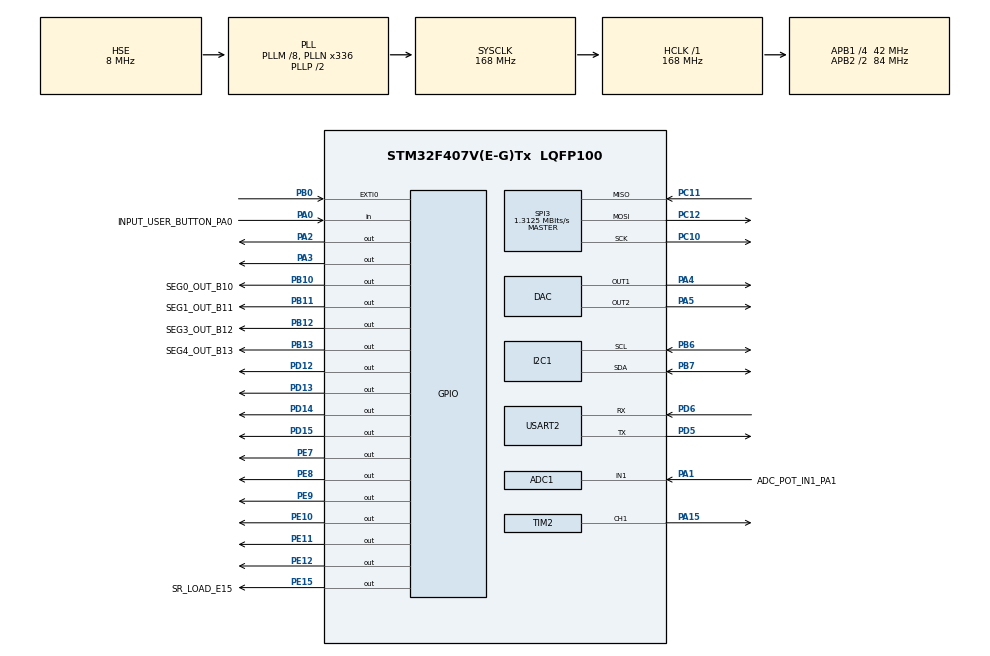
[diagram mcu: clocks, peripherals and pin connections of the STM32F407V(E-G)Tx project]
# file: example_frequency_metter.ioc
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ADC1.Channel-1\#ChannelRegularConversion=ADC_CHANNEL_1
ADC1.ContinuousConvMode=ENABLE
ADC1.EOCSelection=ADC_EOC_SEQ_CONV
ADC1.NbrOfConversionFlag=1
ADC1.Rank-1\#ChannelRegularConversion=1
ADC1.SamplingTime-1\#ChannelRegularConversion=ADC_SAMPLETIME_3CYCLES
ADC1.master=1
Mcu.Family=STM32F4
Mcu.Name=STM32F407V(E-G)Tx
Mcu.Package=LQFP100
NVIC.EXTI0_IRQn=true\:1\:0\:true\:false\:true\:true\:true
NVIC.PriorityGroup=NVIC_PRIORITYGROUP_4
NVIC.TIM1_UP_TIM10_IRQn=true\:0\:0\:false\:false\:true\:true\:true
NVIC.TIM3_IRQn=true\:0\:0\:false\:false\:true\:true\:true
NVIC.USART2_IRQn=true\:0\:0\:false\:false\:true\:true\:true
PA0-WKUP.GPIO_Label=INPUT_USER_BUTTON_PA0
PA0-WKUP.Signal=GPIO_Input
PA1.GPIO_Label=ADC_POT_IN1_PA1
PA1.Signal=ADCx_IN1
PA15.Signal=S_TIM2_CH1_ETR
PA2.GPIO_ModeDefaultOutputPP=GPIO_MODE_OUTPUT_PP
PA2.GPIO_PuPd=GPIO_PULLUP
PA2.GPIO_Speed=GPIO_SPEED_FREQ_HIGH
PA2.PinState=GPIO_PIN_RESET
PA2.Signal=GPIO_Output
PA3.GPIO_ModeDefaultOutputPP=GPIO_MODE_OUTPUT_PP
PA3.GPIO_PuPd=GPIO_PULLUP
PA3.GPIO_Speed=GPIO_SPEED_FREQ_HIGH
PA3.PinState=GPIO_PIN_RESET
PA3.Signal=GPIO_Output
PA4.Signal=COMP_DAC1_group
PA5.Signal=COMP_DAC2_group
PB0.GPIO_ModeDefaultEXTI=GPIO_MODE_IT_RISING
PB0.GPIO_PuPd=GPIO_PULLDOWN
PB0.Signal=GPXTI0
PB10.GPIO_Label=SEG0_OUT_B10
PB10.Signal=GPIO_Output
PB11.GPIO_Label=SEG1_OUT_B11
PB11.Signal=GPIO_Output
PB12.GPIO_Label=SEG3_OUT_B12
PB12.Signal=GPIO_Output
PB13.GPIO_Label=SEG4_OUT_B13
PB13.Signal=GPIO_Output
PB6.Mode=I2C
PB6.Signal=I2C1_SCL
PB7.Mode=I2C
PB7.Signal=I2C1_SDA
PC10.Mode=Full_Duplex_Master
PC10.Signal=SPI3_SCK
PC11.Mode=Full_Duplex_Master
PC11.Signal=SPI3_MISO
PC12.Mode=Full_Duplex_Master
PC12.Signal=SPI3_MOSI
PD12.GPIO_ModeDefaultOutputPP=GPIO_MODE_OUTPUT_PP
PD12.GPIO_PuPd=GPIO_PULLUP
PD12.GPIO_Speed=GPIO_SPEED_FREQ_VERY_HIGH
PD12.PinState=GPIO_PIN_RESET
PD12.Signal=GPIO_Output
PD13.GPIO_ModeDefaultOutputPP=GPIO_MODE_OUTPUT_PP
PD13.GPIO_PuPd=GPIO_PULLUP
PD13.GPIO_Speed=GPIO_SPEED_FREQ_VERY_HIGH
PD13.PinState=GPIO_PIN_RESET
PD13.Signal=GPIO_Output
PD14.GPIO_ModeDefaultOutputPP=GPIO_MODE_OUTPUT_PP
PD14.GPIO_PuPd=GPIO_PULLUP
PD14.GPIO_Speed=GPIO_SPEED_FREQ_VERY_HIGH
PD14.PinState=GPIO_PIN_RESET
PD14.Signal=GPIO_Output
PD15.GPIO_ModeDefaultOutputPP=GPIO_MODE_OUTPUT_PP
PD15.GPIO_PuPd=GPIO_PULLUP
PD15.GPIO_Speed=GPIO_SPEED_FREQ_VERY_HIGH
PD15.PinState=GPIO_PIN_RESET
PD15.Signal=GPIO_Output
PD5.Mode=Asynchronous
PD5.Signal=USART2_TX
PD6.Mode=Asynchronous
PD6.Signal=USART2_RX
PE10.Signal=GPIO_Output
PE11.Signal=GPIO_Output
PE12.Signal=GPIO_Output
PE15.GPIO_Label=SR_LOAD_E15
PE15.Signal=GPIO_Output
PE7.Signal=GPIO_Output
PE8.Signal=GPIO_Output
PE9.Signal=GPIO_Output
PH0-OSC_IN.Mode=HSE-External-Oscillator
PH0-OSC_IN.Signal=RCC_OSC_IN
PH1-OSC_OUT.Mode=HSE-External-Oscillator
PH1-OSC_OUT.Signal=RCC_OSC_OUT
ProjectManager.HeapSize=0x200
ProjectManager.StackSize=0x400
ProjectManager.TargetToolchain=MDK-ARM V5
RCC.48MHZClocksFreq_Value=84000000
RCC.AHBFreq_Value=168000000
RCC.APB1CLKDivider=RCC_HCLK_DIV4
RCC.APB1Freq_Value=42000000
RCC.APB1TimFreq_Value=84000000
RCC.APB2CLKDivider=RCC_HCLK_DIV2
RCC.APB2Freq_Value=84000000
RCC.APB2TimFreq_Value=168000000
RCC.CortexFreq_Value=168000000
RCC.HCLKFreq_Value=168000000
RCC.HSE_VALUE=8000000
RCC.HSI_VALUE=16000000
RCC.LSE_VALUE=32768
RCC.PLLM=8
RCC.PLLN=336
RCC.PLLSourceVirtual=RCC_PLLSOURCE_HSE
RCC.SYSCLKFreq_VALUE=168000000
RCC.SYSCLKSource=RCC_SYSCLKSOURCE_PLLCLK
RCC.VCOOutputFreq_Value=336000000
SH.ADCx_IN1.0=ADC1_IN1,IN1
SH.COMP_DAC1_group.0=DAC_OUT1,DAC_OUT1
SH.COMP_DAC2_group.0=DAC_OUT2,DAC_OUT2
SH.S_TIM2_CH1_ETR.0=TIM2_CH1,PWM Generation1 CH1
SPI3.BaudRatePrescaler=SPI_BAUDRATEPRESCALER_32
SPI3.CalculateBaudRate=1.3125 MBits/s
SPI3.Direction=SPI_DIRECTION_2LINES
SPI3.Mode=SPI_MODE_MASTER
SPI3.VirtualType=VM_MASTER
TIM1.Period=9999
TIM1.Prescaler=8399
TIM2.Channel-PWM\ Generation1\ CH1=TIM_CHANNEL_1
TIM2.Period=100
TIM2.Prescaler=84
TIM2.Pulse-PWM\ Generation1\ CH1=0
TIM2.TIM_MasterOutputTrigger=TIM_TRGO_OC4REF
TIM3.Period=9999
TIM3.Prescaler=168
USART2.VirtualMode=VM_ASYNC
VP_TIM1_VS_ClockSourceINT.Mode=Internal
VP_TIM2_VS_ClockSourceINT.Mode=Internal
VP_TIM3_VS_ClockSourceINT.Mode=Internal
board=example_frequency_metter

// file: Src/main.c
/**
  ******************************************************************************
  * @file           : main.c
  * @brief          : Main program body
  ******************************************************************************
  ** This notice applies to any and all portions of this file
  * that are not between comment pairs USER CODE BEGIN and
  * USER CODE END. Other portions of this file, whether
  * inserted by the user or by software development tools
  * are owned by their respective copyright owners.
  *
  * COPYRIGHT(c) 2019 STMicroelectronics
  *
  * Redistribution and use in source and binary forms, with or without modification,
  * are permitted provided that the following conditions are met:
  *   1. Redistributions of source code must retain the above copyright notice,
  *      this list of conditions and the following disclaimer.
  *   2. Redistributions in binary form must reproduce the above copyright notice,
  *      this list of conditions and the following disclaimer in the documentation
  *      and/or other materials provided with the distribution.
  *   3. Neither the name of STMicroelectronics nor the names of its contributors
  *      may be used to endorse or promote products derived from this software
  *      without specific prior written permission.
  *
  * THIS SOFTWARE IS PROVIDED BY THE COPYRIGHT HOLDERS AND CONTRIBUTORS "AS IS"
  * AND ANY EXPRESS OR IMPLIED WARRANTIES, INCLUDING, BUT NOT LIMITED TO, THE
  * IMPLIED WARRANTIES OF MERCHANTABILITY AND FITNESS FOR A PARTICULAR PURPOSE ARE
  * DISCLAIMED. IN NO EVENT SHALL THE COPYRIGHT HOLDER OR CONTRIBUTORS BE LIABLE
  * FOR ANY DIRECT, INDIRECT, INCIDENTAL, SPECIAL, EXEMPLARY, OR CONSEQUENTIAL
  * DAMAGES (INCLUDING, BUT NOT LIMITED TO, PROCUREMENT OF SUBSTITUTE GOODS OR
  * SERVICES; LOSS OF USE, DATA, OR PROFITS; OR BUSINESS INTERRUPTION) HOWEVER
  * CAUSED AND ON ANY THEORY OF LIABILITY, WHETHER IN CONTRACT, STRICT LIABILITY,
  * OR TORT (INCLUDING NEGLIGENCE OR OTHERWISE) ARISING IN ANY WAY OUT OF THE USE
  * OF THIS SOFTWARE, EVEN IF ADVISED OF THE POSSIBILITY OF SUCH DAMAGE.
  *
  ******************************************************************************
  */
#include "main.h"
#include "stm32f4xx_hal.h"
#include <string.h>

/* USER CODE BEGIN Includes */

#include "lcd_txt.h"

/* USER CODE END Includes */

ADC_HandleTypeDef hadc1;
DAC_HandleTypeDef hdac;
I2C_HandleTypeDef hi2c1;
SPI_HandleTypeDef hspi3;
TIM_HandleTypeDef htim1;
TIM_HandleTypeDef htim2;
TIM_HandleTypeDef htim3;
UART_HandleTypeDef huart2;

/* USER CODE BEGIN PV */

#define SLAVE_ADDRESS_PCF8574T 0x4E // change this according to ur setup
#define PACKET_SIZE_OF_I2C 1
#define DP 0x01

/* Private variables ---------------------------------------------------------*/
uint32_t frequency,dem=0;
int timer_counter = 0;
int ADCvalue;
int volt = 0;
int dutyCycle;
int num = 0;
int DAC_ValSignal;
short a;
uint8_t SPI_TxBuffer[10] = {0};
uint8_t i;
uint16_t value;

const uint8_t digit[10]={0xEE,0x82,0xDC,0xD6,0xB2,0x76,0x7E,0xC2,0xFE,0xF6};

uint16_t SPWM[64] = {
200, 221, 241, 260, 277, 292, 304, 313, 319, 323, 325, 325, 325, 324, 322, 321,
321, 321, 322, 324, 325, 325, 325, 323, 319, 313, 304, 292, 277, 260, 241, 221,
200, 179, 159, 140, 123, 108, 96, 87, 81, 77, 75, 75, 75, 76, 78, 79, 79, 79, 78,
76, 75, 75, 75, 77, 81, 87, 96, 108, 123, 140, 159, 179
};

GPIO_PinState myPushButton;

char txData[40] = "Hello from STM32F4 Discovery\r\n";
char rxData[40];

struct panel_timer
{
	float timer_counter;
	int ext_irq;
}T0;

/* USER CODE END PV */

void SystemClock_Config(void);
static void MX_GPIO_Init(void);
static void MX_TIM1_Init(void);
static void MX_ADC1_Init(void);
static void MX_I2C1_Init(void);
static void MX_USART2_UART_Init(void);
static void MX_TIM2_Init(void);
static void MX_DAC_Init(void);
static void MX_SPI3_Init(void);
static void MX_TIM3_Init(void);

void HAL_TIM_MspPostInit(TIM_HandleTypeDef *htim);

/* USER CODE BEGIN PFP */
/* Private function prototypes -----------------------------------------------*/
void PCF_send_data (char data);
void SEG7_DISPLAY_SCAN(int Seg7_value);

/* USER CODE END PFP */

int main(void)
{
	char str[30];
	char name[20];
//	struct panel_timer T0;// = {0,};

  /* MCU Configuration----------------------------------------------------------*/

  /* Reset of all peripherals, Initializes the Flash interface and the Systick. */
  HAL_Init();

  /* Configure the system clock */
  SystemClock_Config();

  /* Initialize all configured peripherals */
  MX_GPIO_Init();
  MX_TIM1_Init();
  MX_ADC1_Init();
  MX_I2C1_Init();
  MX_USART2_UART_Init();
  MX_TIM2_Init();
	MX_TIM3_Init();
  MX_DAC_Init();
  MX_SPI3_Init();

	lcd_init();

	HAL_TIM_Base_Start_IT(&htim1);
	HAL_TIM_Base_Start_IT(&htim3);
	HAL_ADC_Start(&hadc1);
	HAL_TIM_PWM_Start(&htim2, TIM_CHANNEL_1);
	HAL_DAC_Start(&hdac, DAC_CHANNEL_1);
	HAL_DAC_Start(&hdac, DAC_CHANNEL_2);

  /* USER CODE BEGIN 2 */
  lcd_puts(0,0, (int8_t*) "--Taner SADIKOGLU--");
	HAL_Delay(1000);

	lcd_clear();
  /* USER CODE END 2 */
  /* Infinite loop */
  while (1)
  {

  /* USER CODE BEGIN 3 */

	if(HAL_ADC_PollForConversion(&hadc1,100) == HAL_OK)
{
		ADCvalue = HAL_ADC_GetValue(&hadc1);
}

	PCF_send_data(255-(ADCvalue/16));

//	HAL_UART_Transmit(&huart2, (uint8_t *)&txData[0], 1, 10);
//	txData[0]++;
//	if(txData[0] > '9') txData[0] = '0';

// Update Channel 1 PWM Register
//	dutyCycle = ADCvalue * (100.0/4095.0);
		dutyCycle =  (SPWM[a] * 12)* (100.0/3900.0);;

	//dutyCycle = 35;
	htim2.Instance->CCR1 = dutyCycle;

	HAL_UART_Transmit(&huart2, (uint8_t *)txData, strlen(txData), 1000);

	//DAC_ValSignal = (0.2 * 4095) / 3.0;

	a++;
	if(a>=64) a=0;

	DAC_ValSignal = DAC_ValSignal + 100;
	HAL_DAC_SetValue(&hdac, DAC1_CHANNEL_1,DAC_ALIGN_12B_R, (SPWM[a] * 12));

//	struct bits {
//    unsigned int BIT0:1;
//    unsigned int BIT1:1;
//    unsigned int BIT2:1;
//		unsigned int BIT3:1;
//		unsigned int BIT4:1;
//		unsigned int BIT5:1;
//		unsigned int BIT6:1;
//		unsigned int BIT7:1;
//		unsigned int BIT8:1;
//};

//	struct bits mybits;

//	mybits.BIT0 = 1;
//	mybits.BIT1 = 0;
//	mybits.BIT2 = 0;
//	mybits.BIT7 = 1;

//  sprintf(str,"mybits:%d",mybits);
//  lcd_puts(0,0,(int8_t*) str);

//	Set bit: num = num | (1 << i);
//	Clear bit : num = num & ~(1 << i);
//	Toggle bit: num = num ^ (1 << i);
//	Get bit: num = (num >> i) & 1;

	myPushButton = HAL_GPIO_ReadPin(GPIOA, INPUT_USER_BUTTON_PA0_Pin); //GPIO_PIN_0

	if(myPushButton)
	{
		num = num | (1 << 7);			// 7. BIT SET ET
		value++;
	}
	else
	{
		num = num & ~(1 << 7);		// 7. CLEAR SET ET
	}

		sprintf(str,"Button:%0.3d",num);
		lcd_puts(0,0,(int8_t*) str);
//
//	sprintf(str,"Freq = %u Hz",frequency); //frequency
//	lcd_puts(0,0,(int8_t*) str);

		sprintf(str,"Volt: = %.3f ",ADCvalue * (255.0/4095.0));
		lcd_puts(1,0,(int8_t*) str);
//
//	sprintf(str,"T0: = %0.2f ",T0.timer_counter);
//	lcd_puts(2,0,(int8_t*) str);
//
		sprintf(name,"Taner SADIKOGLU");
		lcd_puts(3,0, (int8_t*) name);
//

//	SEG7_DISPLAY_SCAN(ADCvalue * (255.0/4095.0));

	//HAL_UART_Transmit(&huart2, (uint8_t *)txData, strlen(txData), 1000);

  }
  /* USER CODE END 3 */

}

void SEG7_DISPLAY_SCAN(int Seg7_value)
{
static uint8_t count = 1;
			HAL_GPIO_WritePin(GPIOB, GPIO_PIN_10 | GPIO_PIN_11 | GPIO_PIN_12 | GPIO_PIN_13 , GPIO_PIN_RESET);					// Disable all segments
	switch(count)
	{
		case 1: // Show Segment1
		{
			SPI_TxBuffer[0] = digit[Seg7_value%10];
			HAL_SPI_Transmit (&hspi3, (uint8_t *)SPI_TxBuffer, 1, 100);
			HAL_GPIO_WritePin(GPIOB, GPIO_PIN_10, GPIO_PIN_SET);
			break;
		}
		case 2: // Show Segment2
		{
			SPI_TxBuffer[0] = digit[(Seg7_value/10)%10];
			HAL_SPI_Transmit (&hspi3, (uint8_t *)SPI_TxBuffer, 1, 100);
			HAL_GPIO_WritePin(GPIOB, GPIO_PIN_11, GPIO_PIN_SET);
			break;
		}
		case 3: // Show Segment3
		{
			SPI_TxBuffer[0] = digit[(Seg7_value/100)%10];
			HAL_SPI_Transmit (&hspi3, (uint8_t *)SPI_TxBuffer, 1, 100);
			HAL_GPIO_WritePin(GPIOB, GPIO_PIN_12, GPIO_PIN_SET);
			break;
		}
		case 4: // Show Segment4
		{
			SPI_TxBuffer[0] = digit[(Seg7_value/1000)%10];// + DP;
			HAL_SPI_Transmit (&hspi3, (uint8_t *)SPI_TxBuffer, 1, 100);
			HAL_GPIO_WritePin(GPIOB, GPIO_PIN_13, GPIO_PIN_SET);
			break;
		}

	}
			HAL_GPIO_WritePin(GPIOE, GPIO_PIN_15, GPIO_PIN_SET);			// Strobe Shift Register
			HAL_GPIO_WritePin(GPIOE, GPIO_PIN_15, GPIO_PIN_RESET);

			count++; if(count>4) count=0;
}

void PCF_send_data (char data)
{
	uint8_t data_t[1];
	data_t[0] = data;

	HAL_I2C_Master_Transmit (&hi2c1, SLAVE_ADDRESS_PCF8574T,(uint8_t *) data_t, PACKET_SIZE_OF_I2C, 500);
}

// external int
void HAL_GPIO_EXTI_Callback(uint16_t GPIO_Pin)
	{
		if(GPIO_Pin==GPIO_PIN_0)
			{
				// to do
				dem++;

				HAL_GPIO_TogglePin(GPIOD, GPIO_PIN_14);
//				HAL_GPIO_TogglePin(GPIOD, GPIO_PIN_14|GPIO_PIN_15);
			}
	}

void HAL_TIM_PeriodElapsedCallback(TIM_HandleTypeDef *htim)
	{
		if(TIM1==htim->Instance)
			{
				// to do
				frequency=dem*2;
				dem=0;
				timer_counter = timer_counter + 1;
				T0.timer_counter = T0.timer_counter + 0.01;
				HAL_GPIO_TogglePin(GPIOD,GPIO_PIN_12);
			}

			if(TIM3==htim->Instance)
			{
				HAL_GPIO_TogglePin(GPIOD,GPIO_PIN_13);
				SEG7_DISPLAY_SCAN(ADCvalue * (255.0/4095.0));
			}
	}

/*---------------------------------------- CONFIGUARTION ---------------------------------------------*/
void SystemClock_Config(void)
{

  RCC_OscInitTypeDef RCC_OscInitStruct;
  RCC_ClkInitTypeDef RCC_ClkInitStruct;

    /**Configure the main internal regulator output voltage
    */
  __HAL_RCC_PWR_CLK_ENABLE();

  __HAL_PWR_VOLTAGESCALING_CONFIG(PWR_REGULATOR_VOLTAGE_SCALE1);

    /**Initializes the CPU, AHB and APB busses clocks
    */
  RCC_OscInitStruct.OscillatorType = RCC_OSCILLATORTYPE_HSE;
  RCC_OscInitStruct.HSEState = RCC_HSE_ON;
  RCC_OscInitStruct.PLL.PLLState = RCC_PLL_ON;
  RCC_OscInitStruct.PLL.PLLSource = RCC_PLLSOURCE_HSE;
  RCC_OscInitStruct.PLL.PLLM = 8;
  RCC_OscInitStruct.PLL.PLLN = 336;
  RCC_OscInitStruct.PLL.PLLP = RCC_PLLP_DIV2;
  RCC_OscInitStruct.PLL.PLLQ = 4;
  if (HAL_RCC_OscConfig(&RCC_OscInitStruct) != HAL_OK)
  {
    _Error_Handler(__FILE__, __LINE__);
  }

    /**Initializes the CPU, AHB and APB busses clocks
    */
  RCC_ClkInitStruct.ClockType = RCC_CLOCKTYPE_HCLK|RCC_CLOCKTYPE_SYSCLK
                              |RCC_CLOCKTYPE_PCLK1|RCC_CLOCKTYPE_PCLK2;
  RCC_ClkInitStruct.SYSCLKSource = RCC_SYSCLKSOURCE_PLLCLK;
  RCC_ClkInitStruct.AHBCLKDivider = RCC_SYSCLK_DIV1;
  RCC_ClkInitStruct.APB1CLKDivider = RCC_HCLK_DIV4;
  RCC_ClkInitStruct.APB2CLKDivider = RCC_HCLK_DIV2;

  if (HAL_RCC_ClockConfig(&RCC_ClkInitStruct, FLASH_LATENCY_5) != HAL_OK)
  {
    _Error_Handler(__FILE__, __LINE__);
  }

    /**Configure the Systick interrupt time
    */
  HAL_SYSTICK_Config(HAL_RCC_GetHCLKFreq()/1000);

    /**Configure the Systick
    */
  HAL_SYSTICK_CLKSourceConfig(SYSTICK_CLKSOURCE_HCLK);

  /* SysTick_IRQn interrupt configuration */
  HAL_NVIC_SetPriority(SysTick_IRQn, 0, 0);
}

/* ADC1 init function */
static void MX_ADC1_Init(void)
{

  ADC_ChannelConfTypeDef sConfig;

    /**Configure the global features of the ADC (Clock, Resolution, Data Alignment and number of conversion)
    */
  hadc1.Instance = ADC1;
  hadc1.Init.ClockPrescaler = ADC_CLOCK_SYNC_PCLK_DIV4;
  hadc1.Init.Resolution = ADC_RESOLUTION_12B;
  hadc1.Init.ScanConvMode = DISABLE;
  hadc1.Init.ContinuousConvMode = ENABLE;
  hadc1.Init.DiscontinuousConvMode = DISABLE;
  hadc1.Init.ExternalTrigConvEdge = ADC_EXTERNALTRIGCONVEDGE_NONE;
  hadc1.Init.ExternalTrigConv = ADC_SOFTWARE_START;
  hadc1.Init.DataAlign = ADC_DATAALIGN_RIGHT;
  hadc1.Init.NbrOfConversion = 1;
  hadc1.Init.DMAContinuousRequests = DISABLE;
  hadc1.Init.EOCSelection = ADC_EOC_SEQ_CONV;
  if (HAL_ADC_Init(&hadc1) != HAL_OK)
  {
    _Error_Handler(__FILE__, __LINE__);
  }

    /**Configure for the selected ADC regular channel its corresponding rank in the sequencer and its sample time.
    */
  sConfig.Channel = ADC_CHANNEL_1;
  sConfig.Rank = 1;
  sConfig.SamplingTime = ADC_SAMPLETIME_3CYCLES;
  if (HAL_ADC_ConfigChannel(&hadc1, &sConfig) != HAL_OK)
  {
    _Error_Handler(__FILE__, __LINE__);
  }

}

/* DAC init function */
static void MX_DAC_Init(void)
{

  DAC_ChannelConfTypeDef sConfig;

    /**DAC Initialization
    */
  hdac.Instance = DAC;
  if (HAL_DAC_Init(&hdac) != HAL_OK)
  {
    _Error_Handler(__FILE__, __LINE__);
  }

    /**DAC channel OUT1 config
    */
  sConfig.DAC_Trigger = DAC_TRIGGER_NONE;
  sConfig.DAC_OutputBuffer = DAC_OUTPUTBUFFER_ENABLE;
  if (HAL_DAC_ConfigChannel(&hdac, &sConfig, DAC_CHANNEL_1) != HAL_OK)
  {
    _Error_Handler(__FILE__, __LINE__);
  }

    /**DAC channel OUT2 config
    */
  if (HAL_DAC_ConfigChannel(&hdac, &sConfig, DAC_CHANNEL_2) != HAL_OK)
  {
    _Error_Handler(__FILE__, __LINE__);
  }

}

/* I2C1 init function */
static void MX_I2C1_Init(void)
{

  hi2c1.Instance = I2C1;
  hi2c1.Init.ClockSpeed = 100000;
  hi2c1.Init.DutyCycle = I2C_DUTYCYCLE_2;
  hi2c1.Init.OwnAddress1 = 0;
  hi2c1.Init.AddressingMode = I2C_ADDRESSINGMODE_7BIT;
  hi2c1.Init.DualAddressMode = I2C_DUALADDRESS_DISABLE;
  hi2c1.Init.OwnAddress2 = 0;
  hi2c1.Init.GeneralCallMode = I2C_GENERALCALL_DISABLE;
  hi2c1.Init.NoStretchMode = I2C_NOSTRETCH_DISABLE;
  if (HAL_I2C_Init(&hi2c1) != HAL_OK)
  {
    _Error_Handler(__FILE__, __LINE__);
  }

}

/* SPI3 init function */
static void MX_SPI3_Init(void)
{

  /* SPI3 parameter configuration*/
  hspi3.Instance = SPI3;
  hspi3.Init.Mode = SPI_MODE_MASTER;
  hspi3.Init.Direction = SPI_DIRECTION_2LINES;
  hspi3.Init.DataSize = SPI_DATASIZE_8BIT;
  hspi3.Init.CLKPolarity = SPI_POLARITY_LOW;
  hspi3.Init.CLKPhase = SPI_PHASE_1EDGE;
  hspi3.Init.NSS = SPI_NSS_SOFT;
  hspi3.Init.BaudRatePrescaler = SPI_BAUDRATEPRESCALER_32;
  hspi3.Init.FirstBit = SPI_FIRSTBIT_MSB;
  hspi3.Init.TIMode = SPI_TIMODE_DISABLE;
  hspi3.Init.CRCCalculation = SPI_CRCCALCULATION_DISABLE;
  hspi3.Init.CRCPolynomial = 10;
  if (HAL_SPI_Init(&hspi3) != HAL_OK)
  {
    _Error_Handler(__FILE__, __LINE__);
  }

}

/* TIM1 init function */
static void MX_TIM1_Init(void)
{

  TIM_ClockConfigTypeDef sClockSourceConfig;
  TIM_MasterConfigTypeDef sMasterConfig;

  htim1.Instance = TIM1;
  htim1.Init.Prescaler = 8399;
  htim1.Init.CounterMode = TIM_COUNTERMODE_UP;
  htim1.Init.Period = 9999;
  htim1.Init.ClockDivision = TIM_CLOCKDIVISION_DIV1;
  htim1.Init.RepetitionCounter = 0;
  if (HAL_TIM_Base_Init(&htim1) != HAL_OK)
  {
    _Error_Handler(__FILE__, __LINE__);
  }

  sClockSourceConfig.ClockSource = TIM_CLOCKSOURCE_INTERNAL;
  if (HAL_TIM_ConfigClockSource(&htim1, &sClockSourceConfig) != HAL_OK)
  {
    _Error_Handler(__FILE__, __LINE__);
  }

  sMasterConfig.MasterOutputTrigger = TIM_TRGO_RESET;
  sMasterConfig.MasterSlaveMode = TIM_MASTERSLAVEMODE_DISABLE;
  if (HAL_TIMEx_MasterConfigSynchronization(&htim1, &sMasterConfig) != HAL_OK)
  {
    _Error_Handler(__FILE__, __LINE__);
  }

}

/* TIM2 init function */
static void MX_TIM2_Init(void)
{

  TIM_ClockConfigTypeDef sClockSourceConfig;
  TIM_MasterConfigTypeDef sMasterConfig;
  TIM_OC_InitTypeDef sConfigOC;

  htim2.Instance = TIM2;
  htim2.Init.Prescaler = 84;
  htim2.Init.CounterMode = TIM_COUNTERMODE_UP;
  htim2.Init.Period = 100;
  htim2.Init.ClockDivision = TIM_CLOCKDIVISION_DIV1;
  if (HAL_TIM_Base_Init(&htim2) != HAL_OK)
  {
    _Error_Handler(__FILE__, __LINE__);
  }

  sClockSourceConfig.ClockSource = TIM_CLOCKSOURCE_INTERNAL;
  if (HAL_TIM_ConfigClockSource(&htim2, &sClockSourceConfig) != HAL_OK)
  {
    _Error_Handler(__FILE__, __LINE__);
  }

  if (HAL_TIM_PWM_Init(&htim2) != HAL_OK)
  {
    _Error_Handler(__FILE__, __LINE__);
  }

  sMasterConfig.MasterOutputTrigger = TIM_TRGO_OC4REF;
  sMasterConfig.MasterSlaveMode = TIM_MASTERSLAVEMODE_DISABLE;
  if (HAL_TIMEx_MasterConfigSynchronization(&htim2, &sMasterConfig) != HAL_OK)
  {
    _Error_Handler(__FILE__, __LINE__);
  }

  sConfigOC.OCMode = TIM_OCMODE_PWM1;
  sConfigOC.Pulse = 0;
  sConfigOC.OCPolarity = TIM_OCPOLARITY_HIGH;
  sConfigOC.OCFastMode = TIM_OCFAST_DISABLE;
  if (HAL_TIM_PWM_ConfigChannel(&htim2, &sConfigOC, TIM_CHANNEL_1) != HAL_OK)
  {
    _Error_Handler(__FILE__, __LINE__);
  }

  HAL_TIM_MspPostInit(&htim2);

}

/* TIM3 init function */
static void MX_TIM3_Init(void)
{

  TIM_ClockConfigTypeDef sClockSourceConfig;
  TIM_MasterConfigTypeDef sMasterConfig;

  htim3.Instance = TIM3;
  htim3.Init.Prescaler = 1000;
  htim3.Init.CounterMode = TIM_COUNTERMODE_UP;
  htim3.Init.Period = 100;
  htim3.Init.ClockDivision = TIM_CLOCKDIVISION_DIV1;
  if (HAL_TIM_Base_Init(&htim3) != HAL_OK)
  {
    _Error_Handler(__FILE__, __LINE__);
  }

  sClockSourceConfig.ClockSource = TIM_CLOCKSOURCE_INTERNAL;
  if (HAL_TIM_ConfigClockSource(&htim3, &sClockSourceConfig) != HAL_OK)
  {
    _Error_Handler(__FILE__, __LINE__);
  }

  sMasterConfig.MasterOutputTrigger = TIM_TRGO_RESET;
  sMasterConfig.MasterSlaveMode = TIM_MASTERSLAVEMODE_DISABLE;
  if (HAL_TIMEx_MasterConfigSynchronization(&htim3, &sMasterConfig) != HAL_OK)
  {
    _Error_Handler(__FILE__, __LINE__);
  }

}

/* USART2 init function */
static void MX_USART2_UART_Init(void)
{

  huart2.Instance = USART2;
  huart2.Init.BaudRate = 115200;
  huart2.Init.WordLength = UART_WORDLENGTH_8B;
  huart2.Init.StopBits = UART_STOPBITS_1;
  huart2.Init.Parity = UART_PARITY_NONE;
  huart2.Init.Mode = UART_MODE_TX_RX;
  huart2.Init.HwFlowCtl = UART_HWCONTROL_NONE;
  huart2.Init.OverSampling = UART_OVERSAMPLING_16;
  if (HAL_UART_Init(&huart2) != HAL_OK)
  {
    _Error_Handler(__FILE__, __LINE__);
  }

}

/** Configure pins as
        * Analog
        * Input
        * Output
        * EVENT_OUT
        * EXTI
*/
static void MX_GPIO_Init(void)
{

  GPIO_InitTypeDef GPIO_InitStruct;

  /* GPIO Ports Clock Enable */
  __HAL_RCC_GPIOH_CLK_ENABLE();
  __HAL_RCC_GPIOA_CLK_ENABLE();
  __HAL_RCC_GPIOB_CLK_ENABLE();
  __HAL_RCC_GPIOE_CLK_ENABLE();
  __HAL_RCC_GPIOD_CLK_ENABLE();
  __HAL_RCC_GPIOC_CLK_ENABLE();

  /*Configure GPIO pin Output Level */
  HAL_GPIO_WritePin(GPIOA, GPIO_PIN_2|GPIO_PIN_3, GPIO_PIN_RESET);

  /*Configure GPIO pin Output Level */
  HAL_GPIO_WritePin(GPIOE, GPIO_PIN_7|GPIO_PIN_8|GPIO_PIN_9|GPIO_PIN_10
                          |GPIO_PIN_11|GPIO_PIN_12|SR_LOAD_E15_Pin, GPIO_PIN_RESET);

  /*Configure GPIO pin Output Level */
  HAL_GPIO_WritePin(GPIOB, SEG0_OUT_B10_Pin|SEG1_OUT_B11_Pin|SEG3_OUT_B12_Pin|SEG4_OUT_B13_Pin, GPIO_PIN_RESET);

  /*Configure GPIO pin Output Level */
  HAL_GPIO_WritePin(GPIOD, GPIO_PIN_12|GPIO_PIN_13|GPIO_PIN_14|GPIO_PIN_15, GPIO_PIN_RESET);

  /*Configure GPIO pin : INPUT_USER_BUTTON_PA0_Pin */
  GPIO_InitStruct.Pin = INPUT_USER_BUTTON_PA0_Pin;
  GPIO_InitStruct.Mode = GPIO_MODE_INPUT;
  GPIO_InitStruct.Pull = GPIO_NOPULL;
  HAL_GPIO_Init(INPUT_USER_BUTTON_PA0_GPIO_Port, &GPIO_InitStruct);

  /*Configure GPIO pins : PA2 PA3 */
  GPIO_InitStruct.Pin = GPIO_PIN_2|GPIO_PIN_3;
  GPIO_InitStruct.Mode = GPIO_MODE_OUTPUT_PP;
  GPIO_InitStruct.Pull = GPIO_PULLUP;
  GPIO_InitStruct.Speed = GPIO_SPEED_FREQ_HIGH;
  HAL_GPIO_Init(GPIOA, &GPIO_InitStruct);

  /*Configure GPIO pin : PB0 */
  GPIO_InitStruct.Pin = GPIO_PIN_0;
  GPIO_InitStruct.Mode = GPIO_MODE_IT_RISING;
  GPIO_InitStruct.Pull = GPIO_PULLDOWN;
  HAL_GPIO_Init(GPIOB, &GPIO_InitStruct);

  /*Configure GPIO pins : PE7 PE8 PE9 PE10
                           PE11 PE12 SR_LOAD_E15_Pin */
  GPIO_InitStruct.Pin = GPIO_PIN_7|GPIO_PIN_8|GPIO_PIN_9|GPIO_PIN_10
                          |GPIO_PIN_11|GPIO_PIN_12|SR_LOAD_E15_Pin;
  GPIO_InitStruct.Mode = GPIO_MODE_OUTPUT_PP;
  GPIO_InitStruct.Pull = GPIO_NOPULL;
  GPIO_InitStruct.Speed = GPIO_SPEED_FREQ_LOW;
  HAL_GPIO_Init(GPIOE, &GPIO_InitStruct);

  /*Configure GPIO pins : SEG0_OUT_B10_Pin SEG1_OUT_B11_Pin SEG3_OUT_B12_Pin SEG4_OUT_B13_Pin */
  GPIO_InitStruct.Pin = SEG0_OUT_B10_Pin|SEG1_OUT_B11_Pin|SEG3_OUT_B12_Pin|SEG4_OUT_B13_Pin;
  GPIO_InitStruct.Mode = GPIO_MODE_OUTPUT_PP;
  GPIO_InitStruct.Pull = GPIO_NOPULL;
  GPIO_InitStruct.Speed = GPIO_SPEED_FREQ_LOW;
  HAL_GPIO_Init(GPIOB, &GPIO_InitStruct);

  /*Configure GPIO pins : PD12 PD13 PD14 PD15 */
  GPIO_InitStruct.Pin = GPIO_PIN_12|GPIO_PIN_13|GPIO_PIN_14|GPIO_PIN_15;
  GPIO_InitStruct.Mode = GPIO_MODE_OUTPUT_PP;
  GPIO_InitStruct.Pull = GPIO_PULLUP;
  GPIO_InitStruct.Speed = GPIO_SPEED_FREQ_VERY_HIGH;
  HAL_GPIO_Init(GPIOD, &GPIO_InitStruct);

  /* EXTI interrupt init*/
  HAL_NVIC_SetPriority(EXTI0_IRQn, 1, 0);
  HAL_NVIC_EnableIRQ(EXTI0_IRQn);

}

void _Error_Handler(char *file, int line)
{
  while(1)
  {
  }
}

/************************ (C) COPYRIGHT STMicroelectronics *****END OF FILE****/
